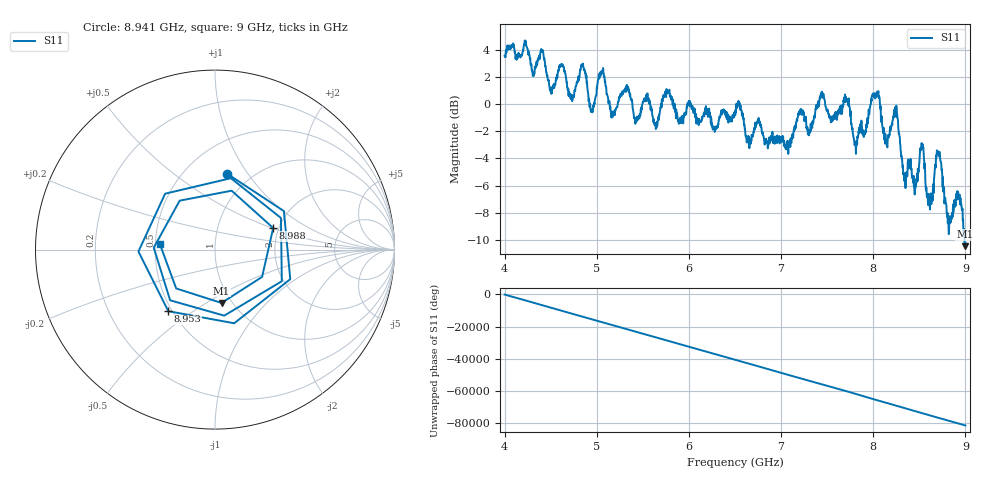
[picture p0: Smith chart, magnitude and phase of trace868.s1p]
! Created with skrf 1.8.0 (http://scikit-rf.org).
# Hz S RI R 50.0
!freq ReS11 ImS11
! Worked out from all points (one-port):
!   1601 points, 4 GHz to 9 GHz, reference 50 ohm
!   lowest |S11| = -10.5 dB at 8.994 GHz (marker M1), VSWR 1.85, Z = 44.7 - j29.2 ohm
!   |S11| at or under -10 dB: 8.990049 GHz to end of sweep
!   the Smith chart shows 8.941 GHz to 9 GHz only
!   S11 on the Smith chart (normalised r, x): 8.941 GHz: 0.78, +0.81; 8.953 GHz: 0.48, -0.40; 8.988 GHz: 1.87, +0.51; 9 GHz: 0.53, +0.03
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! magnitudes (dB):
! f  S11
! 4 GHz  3.6
! 4.512 GHz  0.8
! 4.625 GHz  2.8
! 4.728 GHz  0.7
! 4.853 GHz  2.8
! 4.944 GHz  -0.4
! 5.047 GHz  2.4
! 5.166 GHz  -0.8
! 5.25 GHz  0.5
! 5.875 GHz  -0.9
! 6.5 GHz  -0.5
! 7.125 GHz  -2.4
! 7.441 GHz  0.7
! 7.75 GHz  -0.9
! 7.809 GHz  -2.9
! 8.009 GHz  0.5
! 8.144 GHz  -2.6
! 8.244 GHz  -0.4
! 8.375 GHz  -4.3
! 8.528 GHz  -3.1
! 8.619 GHz  -7.3
! 8.706 GHz  -3.5
! 8.822 GHz  -9.6
! 8.941 GHz  -7.4
! 8.953 GHz  -7.3
! 8.988 GHz  -9.2
! 8.994 GHz  -10.5
! 9 GHz  -10.2
